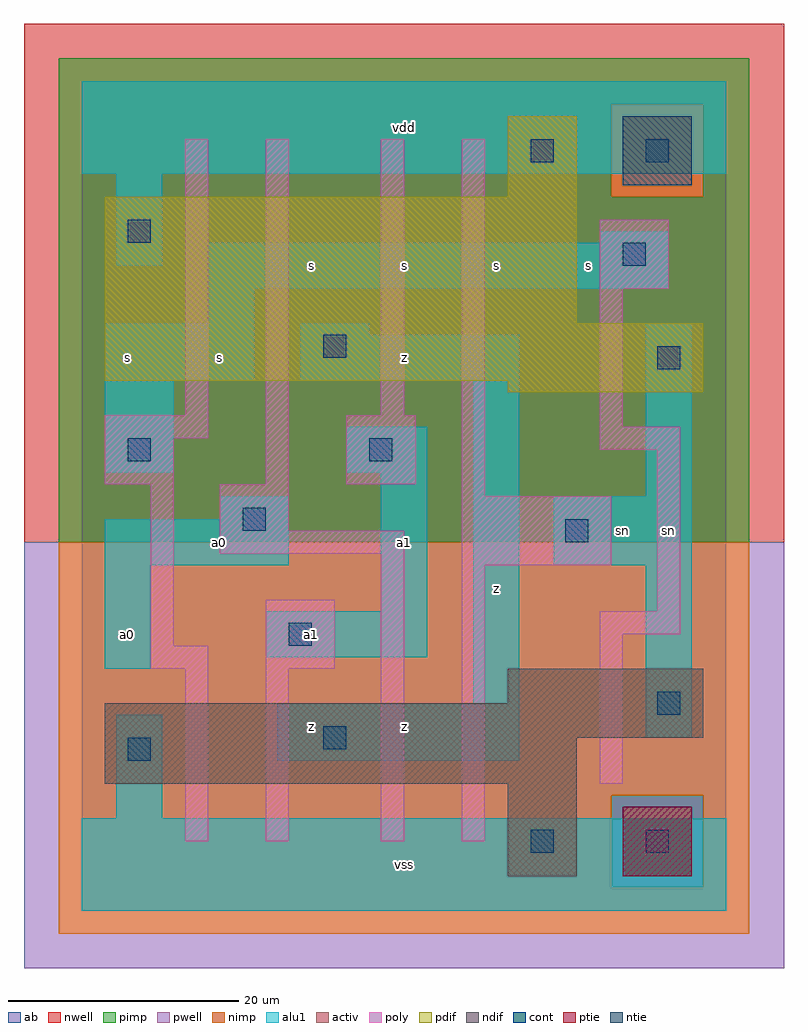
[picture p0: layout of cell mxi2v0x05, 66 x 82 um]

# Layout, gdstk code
import gdstk
lib = gdstk.Library(unit=1e-6, precision=1e-09)
def R(c, l, rs):  # rectangles x0, y0, x1, y1
    for r in rs: c.add(gdstk.rectangle(r[:2], r[2:], *l))
ndif = (3, 0)
pdif = (4, 0)
ntie = (5, 0)
ptie = (6, 0)
cont = (25, 0)
pwell = (41, 0)
nwell = (42, 0)
activ = (43, 0)
pimp = (44, 0)
nimp = (45, 0)
poly = (46, 0)
alu1 = (49, 0)
ab = (63, 0)

mxi2v0x05 = lib.new_cell('mxi2v0x05')
R(mxi2v0x05, ndif, [(37,3,43,11), (2,11,43,15), (2,15,54,18), (37,18,54,21)])
R(mxi2v0x05, pdif, [(37,45,54,46), (2,46,54,51), (2,51,43,62), (37,62,43,69)])
R(mxi2v0x05, ntie, [(47,63,53,69)])
R(mxi2v0x05, ptie, [(47,3,53,9)])
R(mxi2v0x05, cont, [(39,5,41,7), (49,5,51,7), (4,13,6,15), (21,14,23,16), (50,17,52,19), (18,23,20,25), (42,32,44,34), (14,33,16,35), (4,39,6,41), (25,39,27,41), (50,47,52,49), (21,48,23,50), (47,56,49,58), (4,58,6,60), (39,65,41,67), (49,65,51,67)])
R(mxi2v0x05, pwell, [(-5,-5,61,32)])
R(mxi2v0x05, nwell, [(-5,32,61,77)])
R(mxi2v0x05, activ, [(37,3,43,11), (47,3,53,9), (2,11,43,15), (2,15,54,18), (37,18,54,21), (37,45,54,46), (2,46,54,51), (2,51,43,62), (37,62,43,69), (47,63,53,69)])
R(mxi2v0x05, pimp, [(46,2,54,10), (-2,32,58,62), (-2,62,46,70), (54,62,58,70), (-2,70,58,74)])
R(mxi2v0x05, nimp, [(-2,-2,58,2), (-2,2,46,10), (54,2,58,10), (-2,10,58,32), (46,62,54,70)])
R(mxi2v0x05, poly, [(9,6,11,21), (16,6,18,21), (26,6,28,31), (33,6,35,30), (45,11,47,24), (6,21,11,23), (16,21,22,27), (6,23,8,37), (45,24,52,26), (50,26,52,40), (33,30,46,36), (12,31,28,33), (12,33,18,37), (33,36,35,67), (2,37,8,41), (16,37,18,67), (23,37,29,43), (45,40,52,42), (2,41,11,43), (45,42,47,54), (9,43,11,67), (26,43,28,67), (45,54,51,60)])
R(mxi2v0x05, alu1, [(0,0,56,8), (3,8,7,17), (17,13,38,18), (49,15,53,30), (34,18,38,46), (2,21,6,30), (16,22,30,26), (26,26,30,38), (2,30,18,34), (41,30,53,36), (12,34,18,36), (49,36,53,51), (2,38,8,46), (23,38,30,42), (2,46,15,51), (19,46,38,50), (19,50,25,51), (11,51,15,54), (11,54,51,58), (3,56,7,64), (45,58,51,59), (0,64,56,72)])
R(mxi2v0x05, ab, [(0,0,56,72)])
mxi2v0x05.add(gdstk.Label('sn', (47,33), layer=49, texttype=0))
mxi2v0x05.add(gdstk.Label('sn', (51,33), layer=49, texttype=0))
mxi2v0x05.add(gdstk.Label('a0', (4,24), layer=49, texttype=0))
mxi2v0x05.add(gdstk.Label('s', (4,48), layer=49, texttype=0))
mxi2v0x05.add(gdstk.Label('z', (20,16), layer=49, texttype=0))
mxi2v0x05.add(gdstk.Label('a0', (12,32), layer=49, texttype=0))
mxi2v0x05.add(gdstk.Label('a1', (20,24), layer=49, texttype=0))
mxi2v0x05.add(gdstk.Label('s', (12,48), layer=49, texttype=0))
mxi2v0x05.add(gdstk.Label('s', (20,56), layer=49, texttype=0))
mxi2v0x05.add(gdstk.Label('vss', (28,4), layer=49, texttype=0))
mxi2v0x05.add(gdstk.Label('z', (28,16), layer=49, texttype=0))
mxi2v0x05.add(gdstk.Label('a1', (28,32), layer=49, texttype=0))
mxi2v0x05.add(gdstk.Label('z', (36,28), layer=49, texttype=0))
mxi2v0x05.add(gdstk.Label('z', (28,48), layer=49, texttype=0))
mxi2v0x05.add(gdstk.Label('s', (36,56), layer=49, texttype=0))
mxi2v0x05.add(gdstk.Label('s', (28,56), layer=49, texttype=0))
mxi2v0x05.add(gdstk.Label('vdd', (28,68), layer=49, texttype=0))
mxi2v0x05.add(gdstk.Label('s', (44,56), layer=49, texttype=0))

lib.write_gds('mxi2v0x05.gds')
